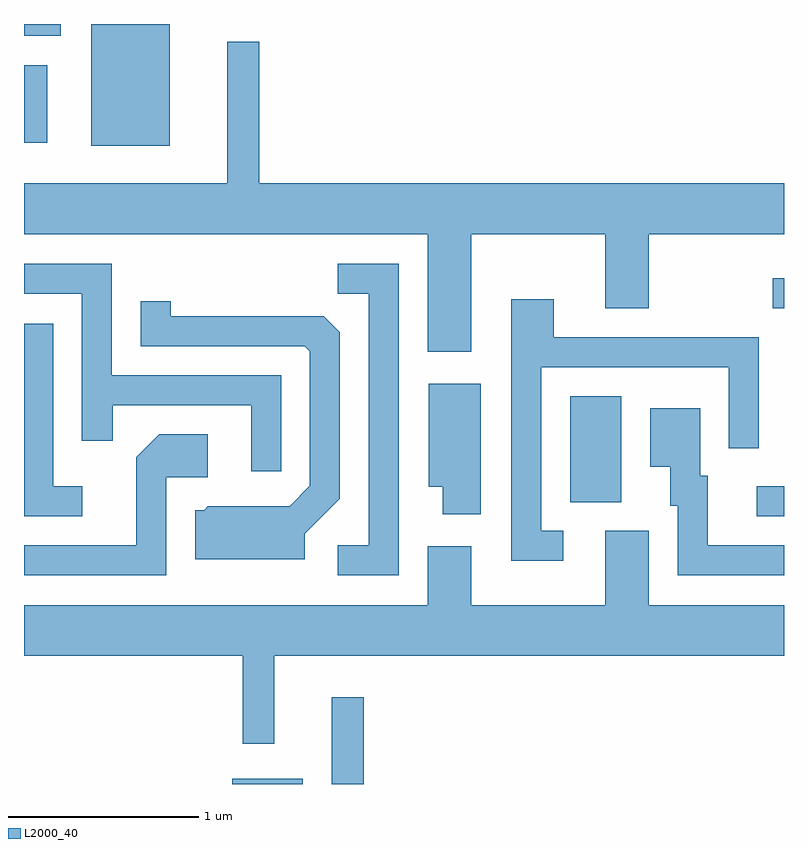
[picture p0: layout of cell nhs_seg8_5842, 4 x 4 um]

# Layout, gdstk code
import gdstk
lib = gdstk.Library(unit=1e-6, precision=1e-09)
def R(c, l, rs):  # rectangles x0, y0, x1, y1
    for r in rs: c.add(gdstk.rectangle(r[:2], r[2:], *l))
def P(c, l, *ps):  # polygons
    for p in ps: c.add(gdstk.Polygon(p, *l))
L2000_40 = (2000, 40)

nhs_seg8_5842 = lib.new_cell('nhs_seg8_5842')
R(nhs_seg8_5842, L2000_40, [(360.706,1902.342,361.079,1902.369), (361.231,1902.342,361.399,1902.798), (363.468,1903.751,363.611,1903.909), (362.486,1903.826,362.754,1904.384), (363.553,1904.846,363.611,1905.004), (359.966,1905.701,360.379,1906.342), (359.611,1905.718,359.734,1906.124), (359.611,1906.281,359.804,1906.342)])
P(nhs_seg8_5842, L2000_40, [(361.964,1905.236),(362.671,1905.236),(362.671,1904.846),(362.899,1904.846),(362.899,1905.236),(363.611,1905.236),(363.611,1905.504),(360.849,1905.504),(360.849,1906.248),(360.681,1906.248),(360.681,1905.504),(359.611,1905.504),(359.611,1905.236),(361.736,1905.236),(361.736,1904.616),(361.964,1904.616)],
  [(360.964,1904.494),(360.074,1904.494),(360.074,1905.079),(359.611,1905.079),(359.611,1904.921),(359.916,1904.921),(359.916,1904.148),(360.079,1904.148),(360.079,1904.336),(360.806,1904.336),(360.806,1903.988),(360.964,1903.988)],
  [(361.584,1905.079),(361.263,1905.079),(361.263,1904.921),(361.426,1904.921),(361.426,1903.599),(361.263,1903.599),(361.263,1903.441),(361.584,1903.441)],
  [(362.448,1903.674),(362.334,1903.674),(362.334,1904.536),(363.321,1904.536),(363.321,1904.108),(363.479,1904.108),(363.479,1904.694),(362.399,1904.694),(362.399,1904.894),(362.176,1904.894),(362.176,1903.516),(362.448,1903.516)],
  [(361.089,1903.659),(361.274,1903.844),(361.274,1904.719),(361.189,1904.804),(360.384,1904.804),(360.384,1904.883),(360.226,1904.883),(360.226,1904.646),(361.089,1904.646),(361.116,1904.619),(361.116,1903.912),(361.009,1903.804),(360.579,1903.804),(360.559,1903.784),(360.511,1903.784),(360.511,1903.526),(361.089,1903.526)],
  [(359.918,1903.909),(359.764,1903.909),(359.764,1904.764),(359.611,1904.764),(359.611,1903.751),(359.918,1903.751)],
  [(362.014,1904.449),(361.741,1904.449),(361.741,1903.906),(361.816,1903.906),(361.816,1903.761),(362.014,1903.761)],
  [(363.611,1903.599),(363.209,1903.599),(363.209,1903.964),(363.169,1903.964),(363.169,1904.319),(362.906,1904.319),(362.906,1904.011),(363.011,1904.011),(363.011,1903.806),(363.051,1903.806),(363.051,1903.441),(363.611,1903.441)],
  [(360.359,1903.956),(360.579,1903.956),(360.579,1904.184),(360.324,1904.184),(360.201,1904.062),(360.201,1903.599),(359.611,1903.599),(359.611,1903.441),(360.359,1903.441)],
  [(360.929,1903.016),(363.611,1903.016),(363.611,1903.284),(362.899,1903.284),(362.899,1903.674),(362.671,1903.674),(362.671,1903.284),(361.964,1903.284),(361.964,1903.594),(361.736,1903.594),(361.736,1903.284),(359.611,1903.284),(359.611,1903.016),(360.761,1903.016),(360.761,1902.553),(360.929,1902.553)])

lib.write_gds('nhs_seg8_5842.gds')
